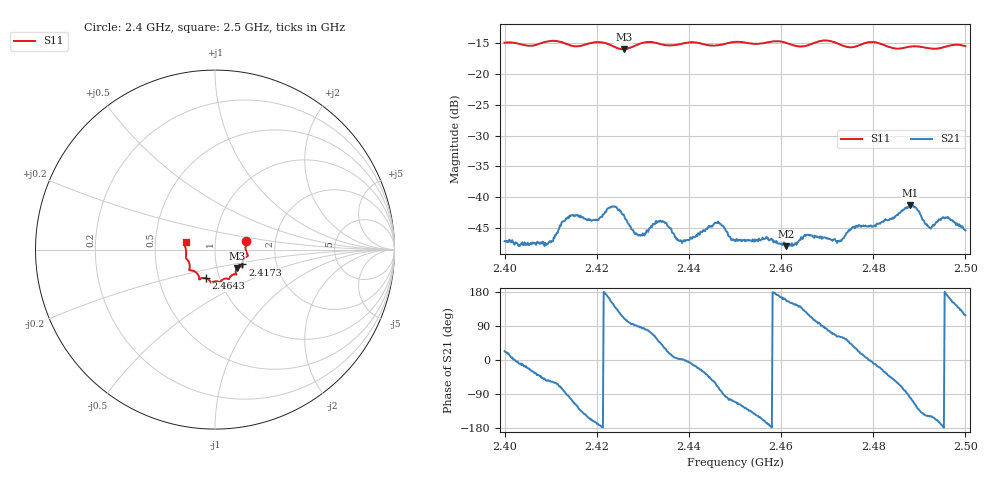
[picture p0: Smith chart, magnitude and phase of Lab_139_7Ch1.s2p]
# Hz S RI R 50
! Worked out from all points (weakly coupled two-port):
!   601 points, 2.4 GHz to 2.5 GHz, reference 50 ohm
!   highest |S21| = -41.31 dB at 2.488 GHz (marker M1); lowest = -48.0 dB at 2.4612 GHz (marker M2)
!   lowest |S11| = -15.9 dB at 2.4258 GHz (marker M3), VSWR 1.38, Z = 62.3 - j13.2 ohm
!   |S11| at or under -10 dB: start of sweep to end of sweep
!   S12 and S22 are empty: the file has one direction only
!   S11 on the Smith chart (normalised r, x): 2.4 GHz: 1.41, +0.14; 2.4173 GHz: 1.34, -0.23; 2.4643 GHz: 0.86, -0.28; 2.5 GHz: 0.72, +0.06
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2.4e9  0.1734 0.0491  0.00403 0.00173  0 0  0 0
2.409167e9  0.1821 -0.0293  0.00238 -0.00342  0 0  0 0
2.413833e9  0.1676 -0.0457  -0.000565 -0.00692  0 0  0 0
2.416667e9  0.153 -0.0749  -0.00485 -0.00485  0 0  0 0
2.417333e9  0.1522 -0.0824  -0.00533 -0.00406  0 0  0 0
2.423667e9  0.1393 -0.094  -0.00697 0.00469  0 0  0 0
2.425833e9  0.1216 -0.1033  -0.00262 0.00673  0 0  0 0
2.429333e9  0.1164 -0.1331  0.000336 0.00493  0 0  0 0
2.433333e9  0.1131 -0.137  0.00405 0.0049  0 0  0 0
2.438167e9  0.0821 -0.1555  0.00447 0.000143  0 0  0 0
2.446167e9  0.0464 -0.1652  0.00217 -0.00576  0 0  0 0
2.45e9  0.0295 -0.1807  -0.00154 -0.00411  0 0  0 0
2.461167e9  -0.0265 -0.1775  -0.00365 0.00162  0 0  0 0
2.464333e9  -0.05 -0.1603  -0.00355 0.00313  0 0  0 0
2.466667e9  -0.0757 -0.1593  -0.00181 0.00452  0 0  0 0
2.472667e9  -0.0894 -0.1504  0.00206 0.00385  0 0  0 0
2.475833e9  -0.1147 -0.1208  0.00474 0.00326  0 0  0 0
2.483333e9  -0.1408 -0.0897  0.00482 -0.00434  0 0  0 0
2.488e9  -0.1596 -0.0508  -0.00138 -0.00849  0 0  0 0
2.492e9  -0.1608 -0.0256  -0.00488 -0.00308  0 0  0 0
2.495667e9  -0.1666 0.016  -0.00682 0.000433  0 0  0 0
2.5e9  -0.1638 0.0421  -0.00251 0.00474  0 0  0 0
